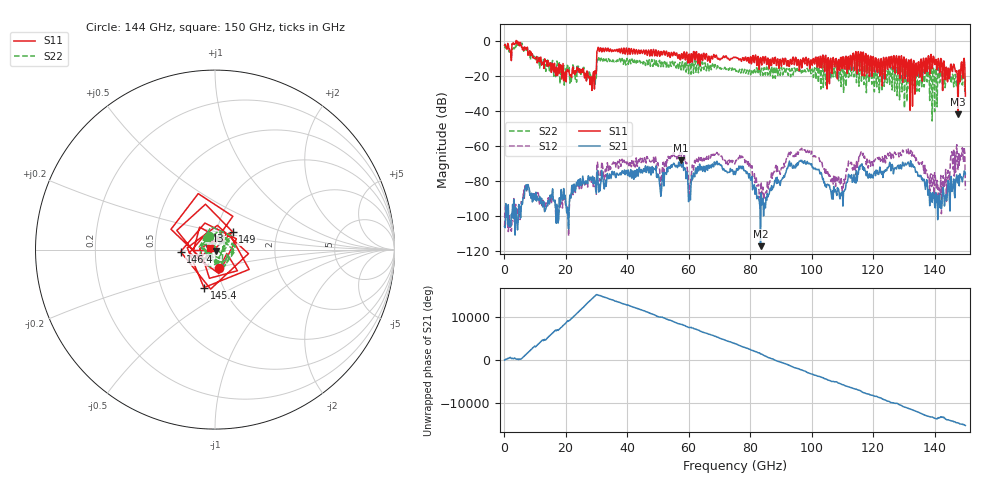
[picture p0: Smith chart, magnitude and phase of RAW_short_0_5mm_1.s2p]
!  2-Port S-parameters saved by WinCal
! VAR NAME=RAW_LRRM_short_0.5mm_1
! VAR DATE=08/08/2022 22:11:22
! VAR FILENAME=RAW_LRRM_short_0.5mm_1.S2P
! VAR MeasName=S-Parameters (CALIBRATED_DATA) read from VNA (MS4647B)
! VAR MeasDate=26-Apr-22 16:28:34
! VAR PHYS_PORTS=1,2
! VAR ObjTypeName=DATASET
! VAR IndexType=Frequency
! VAR ChuckHeaterState=Unknown
! VAR ChuckTemp=NaN
! VAR ChuckTempUnits=Unknown
# Hz S RI R 50
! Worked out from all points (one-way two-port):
!   750 points, 200 MHz to 150 GHz, reference 50 ohm
!   highest |S21| = -68.08 dB at 57.4 GHz (marker M1); lowest = -117.3 dB at 83.4 GHz (marker M2)
!   lowest |S11| = -41.8 dB at 147.6 GHz (marker M3), VSWR 1.02, Z = 50.6 - j0.591 ohm
!   |S11| at or under -10 dB: 13.2 GHz to 30.13 GHz (16.93 GHz wide, 78.1 % of centre); 130.1 GHz to 136.4 GHz (6.296 GHz wide, 4.73 % of centre); 142 GHz to 149.6 GHz (7.522 GHz wide, 5.16 % of centre) (the widest 3 of 87)
!   |S22| runs from -45.7 to -0.8 dB; largest |S21 - S12| = 0.0012
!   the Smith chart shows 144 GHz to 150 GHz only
!   S11 on the Smith chart (normalised r, x): 144 GHz: 1.03, -0.22; 145.4 GHz: 0.81, -0.36; 146.4 GHz: 0.68, -0.02; 149 GHz: 1.19, +0.24; 150 GHz: 0.95, +0.02
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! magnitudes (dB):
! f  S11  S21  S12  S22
! 200 MHz  -2.3  -106.2  -105.9  -3.9
! 25.2 GHz  -16.2  -82.7  -84.3  -17.5
! 28.8 GHz  -22.0  -77.3  -79.3  -23.3
! 31 GHz  -5.8  -81.9  -78.1  -10.3
! 50.2 GHz  -5.5  -76.5  -71.6  -14.4
! 57.4 GHz  -10.6  -68.1  -63.7  -13.7
! 60.4 GHz  -12.2  -87.8  -82.7  -11.3
! 63.4 GHz  -7.1  -73.9  -65.8  -15.0
! 75.2 GHz  -9.2  -76.3  -69.4  -16.0
! 83.4 GHz  -9.3  -117.3  -93.4  -19.4
! 93 GHz  -10.7  -71.6  -65.0  -17.7
! 100.2 GHz  -13.7  -72.2  -65.1  -15.8
! 110.4 GHz  -9.5  -85.9  -80.9  -29.2
! 116 GHz  -6.1  -71.4  -63.8  -13.1
! 125.2 GHz  -8.9  -71.5  -65.3  -20.5
! 139.2 GHz  -15.8  -92.2  -82.4  -45.7
! 144 GHz  -19.4  -91.2  -78.9  -21.4
! 145.4 GHz  -13.1  -77.4  -63.8  -24.2
! 146.4 GHz  -14.3  -87.4  -77.2  -23.1
! 147.6 GHz  -41.8  -80.3  -73.8  -20.0
! 149 GHz  -17.1  -80.5  -61.0  -25.1
! 150 GHz  -31.4  -75.9  -84.9  -21.8
